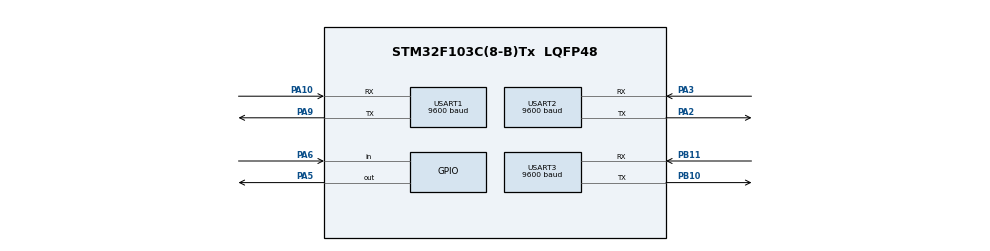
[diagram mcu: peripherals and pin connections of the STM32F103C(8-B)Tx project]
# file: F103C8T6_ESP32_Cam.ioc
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Mcu.Family=STM32F1
Mcu.Name=STM32F103C(8-B)Tx
Mcu.Package=LQFP48
NVIC.PriorityGroup=NVIC_PRIORITYGROUP_4
NVIC.USART3_IRQn=true\:0\:0\:false\:false\:true\:true\:true\:true
PA10.Mode=Asynchronous
PA10.Signal=USART1_RX
PA13.Mode=Serial_Wire
PA13.Signal=SYS_JTMS-SWDIO
PA14.Mode=Serial_Wire
PA14.Signal=SYS_JTCK-SWCLK
PA2.Mode=Asynchronous
PA2.Signal=USART2_TX
PA3.Mode=Asynchronous
PA3.Signal=USART2_RX
PA5.Signal=GPIO_Output
PA6.GPIO_PuPd=GPIO_PULLUP
PA6.Signal=GPIO_Input
PA9.Mode=Asynchronous
PA9.Signal=USART1_TX
PB10.Mode=Asynchronous
PB10.Signal=USART3_TX
PB11.Mode=Asynchronous
PB11.Signal=USART3_RX
PC14-OSC32_IN.Mode=LSE-External-Oscillator
PC14-OSC32_IN.Signal=RCC_OSC32_IN
PC15-OSC32_OUT.Mode=LSE-External-Oscillator
PC15-OSC32_OUT.Signal=RCC_OSC32_OUT
PD0-OSC_IN.Mode=HSE-External-Oscillator
PD0-OSC_IN.Signal=RCC_OSC_IN
PD1-OSC_OUT.Mode=HSE-External-Oscillator
PD1-OSC_OUT.Signal=RCC_OSC_OUT
ProjectManager.HeapSize=0x200
ProjectManager.StackSize=0x400
ProjectManager.TargetToolchain=STM32CubeIDE
RCC.APB1Freq_Value=8000000
RCC.APB2Freq_Value=8000000
USART1.BaudRate=9600
USART1.VirtualMode=VM_ASYNC
USART2.BaudRate=9600
USART2.VirtualMode=VM_ASYNC
USART3.BaudRate=9600
USART3.VirtualMode=VM_ASYNC
board=custom

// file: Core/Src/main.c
/* USER CODE BEGIN Header */
/**
 ******************************************************************************
 * @file           : main.c
 * @brief          : Main program body
 ******************************************************************************
 * @attention
 *
 * Copyright (c) 2025 STMicroelectronics.
 * All rights reserved.
 *
 * This software is licensed under terms that can be found in the LICENSE file
 * in the root directory of this software component.
 * If no LICENSE file comes with this software, it is provided AS-IS.
 *
 ******************************************************************************
 */
/* USER CODE END Header */
#include "main.h"

/* USER CODE BEGIN Includes */
#include <string.h>
#include <stdio.h>
#include <stdbool.h>  // ✅ Required for bool, true, false

/* USER CODE END Includes */

UART_HandleTypeDef huart1;
UART_HandleTypeDef huart2;
UART_HandleTypeDef huart3;

/* USER CODE BEGIN PV */
#define RX_BUFFER_SIZE 512

char esp_buffer[RX_BUFFER_SIZE];
char esp_line[RX_BUFFER_SIZE];
uint16_t esp_index = 0;

uint8_t rx_byte;
uint32_t last_sms_time = 0;
uint8_t sms_pending = 0;
uint8_t buzzer_on = 0;
uint32_t buzzer_start = 0;

// Buzzer and button control

uint8_t button_muted = 0;
uint32_t button_mute_start = 0;

char latitude[16] = "17.46206N";
char longitude[16] = "78.59537E";

const char *phone_numbers[] = { "9985798499", "9100504603", "7286996386",
		"9154797255" };
const uint8_t phone_count = sizeof(phone_numbers) / sizeof(phone_numbers[0]);
/* USER CODE END PV */

void SystemClock_Config(void);
static void MX_GPIO_Init(void);
static void MX_USART1_UART_Init(void);
static void MX_USART3_UART_Init(void);
static void MX_USART2_UART_Init(void);
/* USER CODE BEGIN PFP */
void send_alert_to_all(char *message);
bool detect_snake(const char *text);

/* USER CODE END PFP */

/* USER CODE BEGIN 0 */
bool detect_snake(const char *text) {
	const char *snake_names[] = { "green_mamba", "horned_viper",
			"boa_constrictor", "garter_snake", "sea_snake", "diamondback",
			"Indian_cobra", "green_snake", "rock_python", "banded_krait" };

	for (uint8_t i = 0; i < sizeof(snake_names) / sizeof(snake_names[0]); i++) {
		if (strstr(text, snake_names[i]) != NULL) {
			return true;
		}
	}
	return false;
}
/* USER CODE END 0 */

int main(void) {

	/* MCU Configuration--------------------------------------------------------*/

	/* Reset of all peripherals, Initializes the Flash interface and the Systick. */
	HAL_Init();

	/* Configure the system clock */
	SystemClock_Config();

	/* Initialize all configured peripherals */
	MX_GPIO_Init();
	MX_USART1_UART_Init();
	MX_USART3_UART_Init();
	MX_USART2_UART_Init();
	/* USER CODE BEGIN 2 */
	HAL_UART_Transmit(&huart1, (uint8_t*) "STM32 Ready...\r\n", 16,
	HAL_MAX_DELAY);

	HAL_UART_Receive_IT(&huart3, &rx_byte, 1);

	/* USER CODE END 2 */

	/* Infinite loop */
	while (1) {

		/* USER CODE BEGIN 3 */
		uint32_t now = HAL_GetTick();

		// --- Button to temporarily mute buzzer ---
		uint8_t button_state = HAL_GPIO_ReadPin(GPIOA, GPIO_PIN_6);
		if (button_state == GPIO_PIN_RESET && !button_muted) {
			button_muted = 1;
			button_mute_start = now;
			HAL_GPIO_WritePin(GPIOA, GPIO_PIN_5, GPIO_PIN_RESET); // turn off buzzer
		}

		// Unmute after 3 seconds
		if (button_muted && (now - button_mute_start >= 3000)) {
			button_muted = 0;
		}

		// --- Turn off buzzer automatically after 1 second ---
		if (!button_muted && buzzer_on && (now - buzzer_start >= 1000)) {
			HAL_GPIO_WritePin(GPIOA, GPIO_PIN_5, GPIO_PIN_RESET);
			buzzer_on = 0;
		}

		// --- Manual SMS button ---
		if (button_state == GPIO_PIN_RESET && !sms_pending) {
			sms_pending = 1;
			last_sms_time = now;
		}

		if (sms_pending && (now - last_sms_time >= 0)) {
			char sms_payload[200];
			snprintf(sms_payload, sizeof(sms_payload),
					" DATA=%.100s", esp_line);
			send_alert_to_all(sms_payload);

			HAL_UART_Transmit(&huart1, (uint8_t*) "Manual SMS Sent to All!\r\n",
					25, HAL_MAX_DELAY);
			sms_pending = 2;
		}

		if (button_state == GPIO_PIN_SET && sms_pending == 2) {
			sms_pending = 0;
			HAL_Delay(300);
		}
	}
	/* USER CODE END 3 */
}

void SystemClock_Config(void) {
	RCC_OscInitTypeDef RCC_OscInitStruct = { 0 };
	RCC_ClkInitTypeDef RCC_ClkInitStruct = { 0 };

	/** Initializes the RCC Oscillators according to the specified parameters
	 * in the RCC_OscInitTypeDef structure.
	 */
	RCC_OscInitStruct.OscillatorType = RCC_OSCILLATORTYPE_HSI;
	RCC_OscInitStruct.HSIState = RCC_HSI_ON;
	RCC_OscInitStruct.HSICalibrationValue = RCC_HSICALIBRATION_DEFAULT;
	RCC_OscInitStruct.PLL.PLLState = RCC_PLL_NONE;
	if (HAL_RCC_OscConfig(&RCC_OscInitStruct) != HAL_OK) {
		Error_Handler();
	}

	/** Initializes the CPU, AHB and APB buses clocks
	 */
	RCC_ClkInitStruct.ClockType = RCC_CLOCKTYPE_HCLK | RCC_CLOCKTYPE_SYSCLK
			| RCC_CLOCKTYPE_PCLK1 | RCC_CLOCKTYPE_PCLK2;
	RCC_ClkInitStruct.SYSCLKSource = RCC_SYSCLKSOURCE_HSI;
	RCC_ClkInitStruct.AHBCLKDivider = RCC_SYSCLK_DIV1;
	RCC_ClkInitStruct.APB1CLKDivider = RCC_HCLK_DIV1;
	RCC_ClkInitStruct.APB2CLKDivider = RCC_HCLK_DIV1;

	if (HAL_RCC_ClockConfig(&RCC_ClkInitStruct, FLASH_LATENCY_0) != HAL_OK) {
		Error_Handler();
	}
}

static void MX_USART1_UART_Init(void) {

	huart1.Instance = USART1;
	huart1.Init.BaudRate = 9600;
	huart1.Init.WordLength = UART_WORDLENGTH_8B;
	huart1.Init.StopBits = UART_STOPBITS_1;
	huart1.Init.Parity = UART_PARITY_NONE;
	huart1.Init.Mode = UART_MODE_TX_RX;
	huart1.Init.HwFlowCtl = UART_HWCONTROL_NONE;
	huart1.Init.OverSampling = UART_OVERSAMPLING_16;
	if (HAL_UART_Init(&huart1) != HAL_OK) {
		Error_Handler();
	}

}

static void MX_USART2_UART_Init(void) {

	huart2.Instance = USART2;
	huart2.Init.BaudRate = 9600;
	huart2.Init.WordLength = UART_WORDLENGTH_8B;
	huart2.Init.StopBits = UART_STOPBITS_1;
	huart2.Init.Parity = UART_PARITY_NONE;
	huart2.Init.Mode = UART_MODE_TX_RX;
	huart2.Init.HwFlowCtl = UART_HWCONTROL_NONE;
	huart2.Init.OverSampling = UART_OVERSAMPLING_16;
	if (HAL_UART_Init(&huart2) != HAL_OK) {
		Error_Handler();
	}

}

static void MX_USART3_UART_Init(void) {

	huart3.Instance = USART3;
	huart3.Init.BaudRate = 9600;
	huart3.Init.WordLength = UART_WORDLENGTH_8B;
	huart3.Init.StopBits = UART_STOPBITS_1;
	huart3.Init.Parity = UART_PARITY_NONE;
	huart3.Init.Mode = UART_MODE_TX_RX;
	huart3.Init.HwFlowCtl = UART_HWCONTROL_NONE;
	huart3.Init.OverSampling = UART_OVERSAMPLING_16;
	if (HAL_UART_Init(&huart3) != HAL_OK) {
		Error_Handler();
	}

}

static void MX_GPIO_Init(void) {
	GPIO_InitTypeDef GPIO_InitStruct = { 0 };

	/* GPIO Ports Clock Enable */
	__HAL_RCC_GPIOC_CLK_ENABLE();
	__HAL_RCC_GPIOD_CLK_ENABLE();
	__HAL_RCC_GPIOA_CLK_ENABLE();
	__HAL_RCC_GPIOB_CLK_ENABLE();

	/*Configure GPIO pin Output Level */
	HAL_GPIO_WritePin(GPIOA, GPIO_PIN_5, GPIO_PIN_RESET);

	/*Configure GPIO pin : PA5 */
	GPIO_InitStruct.Pin = GPIO_PIN_5;
	GPIO_InitStruct.Mode = GPIO_MODE_OUTPUT_PP;
	GPIO_InitStruct.Pull = GPIO_NOPULL;
	GPIO_InitStruct.Speed = GPIO_SPEED_FREQ_LOW;
	HAL_GPIO_Init(GPIOA, &GPIO_InitStruct);

	/*Configure GPIO pin : PA6 */
	GPIO_InitStruct.Pin = GPIO_PIN_6;
	GPIO_InitStruct.Mode = GPIO_MODE_INPUT;
	GPIO_InitStruct.Pull = GPIO_PULLUP;
	HAL_GPIO_Init(GPIOA, &GPIO_InitStruct);

}

/* USER CODE BEGIN 4 */
void HAL_UART_RxCpltCallback(UART_HandleTypeDef *huart) {
	if (huart->Instance == USART3) {
		if (esp_index < RX_BUFFER_SIZE - 1) {
			if (rx_byte == '\n') {
				esp_buffer[esp_index] = '\0';
				strcpy(esp_line, esp_buffer);
				esp_index = 0;

				HAL_UART_Transmit(&huart1, (uint8_t*) esp_line,
						strlen(esp_line), HAL_MAX_DELAY);
				HAL_UART_Transmit(&huart1, (uint8_t*) "\r\n", 2, HAL_MAX_DELAY);

				// --- Snake detection ---
				if (detect_snake(esp_line) && !buzzer_on && !button_muted) {
					HAL_GPIO_WritePin(GPIOA, GPIO_PIN_5, GPIO_PIN_SET); // buzzer ON
					buzzer_on = 1;
					buzzer_start = HAL_GetTick();

					HAL_UART_Transmit(&huart1, (uint8_t*) "Snake Detected!\r\n",
							17, HAL_MAX_DELAY);
				}
			} else {
				esp_buffer[esp_index++] = rx_byte;
			}
		} else {
			esp_index = 0; // overflow protection
		}

		HAL_UART_Receive_IT(&huart3, &rx_byte, 1);
	}
}

void send_sms(char *number, char *message) {
	char cmd[160];
	sprintf(cmd, "AT+CMGF=1\r\n");
	HAL_UART_Transmit(&huart2, (uint8_t*) cmd, strlen(cmd), HAL_MAX_DELAY);
	HAL_Delay(500);

	sprintf(cmd, "AT+CMGS=\"%s\"\r\n", number);
	HAL_UART_Transmit(&huart2, (uint8_t*) cmd, strlen(cmd), HAL_MAX_DELAY);
	HAL_Delay(500);

	HAL_UART_Transmit(&huart2, (uint8_t*) message, strlen(message),
	HAL_MAX_DELAY);
	HAL_Delay(500);

	uint8_t ctrl_z = 26;
	HAL_UART_Transmit(&huart2, &ctrl_z, 1, HAL_MAX_DELAY);
	HAL_Delay(5000);
}
void send_alert_to_all(char *message) {
	for (uint8_t i = 0; i < phone_count; i++) {
		send_sms((char*) phone_numbers[i], message);
		HAL_UART_Transmit(&huart1, (uint8_t*) "SMS sent to: ", 13,
		HAL_MAX_DELAY);
		HAL_UART_Transmit(&huart1, (uint8_t*) phone_numbers[i],
				strlen(phone_numbers[i]), HAL_MAX_DELAY);
		HAL_UART_Transmit(&huart1, (uint8_t*) "\r\n", 2, HAL_MAX_DELAY);
		HAL_Delay(2000); // short delay between each message
	}
}
/* USER CODE END 4 */

void Error_Handler(void) {
	__disable_irq();
	while (1) {
	}
}
